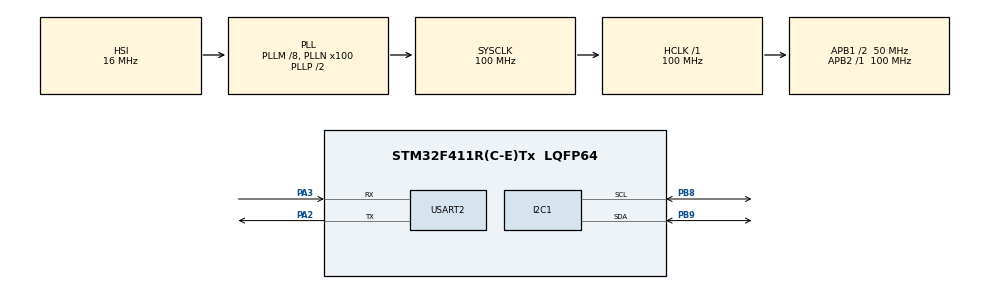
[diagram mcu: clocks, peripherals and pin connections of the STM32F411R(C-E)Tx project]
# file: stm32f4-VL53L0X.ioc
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Mcu.Family=STM32F4
Mcu.Name=STM32F411R(C-E)Tx
Mcu.Package=LQFP64
NVIC.PriorityGroup=NVIC_PRIORITYGROUP_0
PA2.GPIO_PuPd=GPIO_PULLDOWN
PA2.Mode=Asynchronous
PA2.Signal=USART2_TX
PA3.GPIO_PuPd=GPIO_PULLDOWN
PA3.Mode=Asynchronous
PA3.Signal=USART2_RX
PB8.GPIO_Pu=GPIO_PULLUP
PB8.Mode=I2C
PB8.Signal=I2C1_SCL
PB9.GPIO_Pu=GPIO_PULLUP
PB9.Mode=I2C
PB9.Signal=I2C1_SDA
ProjectManager.HeapSize=0x200
ProjectManager.StackSize=0x400
ProjectManager.TargetToolchain=STM32CubeIDE
RCC.48MHZClocksFreq_Value=50000000
RCC.AHBFreq_Value=100000000
RCC.APB1CLKDivider=RCC_HCLK_DIV2
RCC.APB1Freq_Value=50000000
RCC.APB1TimFreq_Value=100000000
RCC.APB2Freq_Value=100000000
RCC.APB2TimFreq_Value=100000000
RCC.CortexFreq_Value=100000000
RCC.FLatency-AdvancedSettings=FLASH_LATENCY_3
RCC.HCLKFreq_Value=100000000
RCC.HSE_VALUE=8000000
RCC.HSI_VALUE=16000000
RCC.LSE_VALUE=32768
RCC.PLLM=8
RCC.PLLN=100
RCC.SYSCLKFreq_VALUE=100000000
RCC.SYSCLKSource=RCC_SYSCLKSOURCE_PLLCLK
RCC.VCOOutputFreq_Value=200000000
USART2.VirtualMode=VM_ASYNC
board=NUCLEO-F411RE

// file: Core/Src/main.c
git/* USER CODE BEGIN Header */
/**
 ******************************************************************************
 * @file           : main.c
 * @brief          : Main program body
 ******************************************************************************
 * @attention
 *
 * <h2><center>&copy; Copyright (c) 2021 STMicroelectronics.
 * All rights reserved.</center></h2>
 *
 * This software component is licensed by ST under BSD 3-Clause license,
 * the "License"; You may not use this file except in compliance with the
 * License. You may obtain a copy of the License at:
 *                        opensource.org/licenses/BSD-3-Clause
 *
 ******************************************************************************
 */
/* USER CODE END Header */
#include "main.h"

/* USER CODE BEGIN Includes */
#include "VL53L0X.h"
#include "stdio.h"

/* USER CODE END Includes */

I2C_HandleTypeDef hi2c1;

UART_HandleTypeDef huart2;

void SystemClock_Config(void);
static void MX_GPIO_Init(void);
static void MX_USART2_UART_Init(void);
static void MX_I2C1_Init(void);

/* USER CODE BEGIN 0 */
int __io_putchar(int ch)

{

HAL_UART_Transmit(&huart2, (uint8_t *)&ch, 1, HAL_MAX_DELAY);

return ch;

}

int __io_getchar(void)

{

uint8_t ch = 0;

__HAL_UART_CLEAR_OREFLAG(&huart2);

HAL_UART_Receive(&huart2, (uint8_t *)&ch, 1, HAL_MAX_DELAY);

HAL_UART_Transmit(&huart2, (uint8_t *)&ch, 1, HAL_MAX_DELAY);

return ch;

}
/* USER CODE END 0 */

int main(void)
{

  /* MCU Configuration--------------------------------------------------------*/

  /* Reset of all peripherals, Initializes the Flash interface and the Systick. */
  HAL_Init();

  /* Configure the system clock */
  SystemClock_Config();

  /* Initialize all configured peripherals */
  MX_GPIO_Init();
  MX_USART2_UART_Init();
  MX_I2C1_Init();
  /* USER CODE BEGIN 2 */

	// Initialise a message buffer.
	char msgBuffer[52];
	for (uint8_t i = 0; i < 52; i++) {
		msgBuffer[i] = ' ';
	}

	// Initialise the VL53L0X
	statInfo_t_VL53L0X distanceStr;
	initVL53L0X(1, &hi2c1);

	// Configure the sensor for high accuracy and speed in 20 cm.
	setSignalRateLimit(200);
	setVcselPulsePeriod(VcselPeriodPreRange, 10);
	setVcselPulsePeriod(VcselPeriodFinalRange, 14);
	setMeasurementTimingBudget(300 * 1000UL);

	uint16_t distance;

  /* USER CODE END 2 */

  /* Infinite loop */
  /* USER CODE BEGIN WHILE */
	while (1) {

		// uint16_t distance is the distance in millimeters.
		// statInfo_t_VL53L0X distanceStr is the statistics read from the sensor.f
		//printf("cordialemnt connard");
		distance = readRangeSingleMillimeters(&distanceStr);

		printf( "Distance: %d\r\n", distance,"mm");

		HAL_UART_Transmit(&huart2, (uint8_t*) msgBuffer, sizeof(msgBuffer), 50);

    /* USER CODE END WHILE */

	}
}

void SystemClock_Config(void)
{
  RCC_OscInitTypeDef RCC_OscInitStruct = {0};
  RCC_ClkInitTypeDef RCC_ClkInitStruct = {0};

  /** Configure the main internal regulator output voltage
  */
  __HAL_RCC_PWR_CLK_ENABLE();
  __HAL_PWR_VOLTAGESCALING_CONFIG(PWR_REGULATOR_VOLTAGE_SCALE1);

  /** Initializes the RCC Oscillators according to the specified parameters
  * in the RCC_OscInitTypeDef structure.
  */
  RCC_OscInitStruct.OscillatorType = RCC_OSCILLATORTYPE_HSI;
  RCC_OscInitStruct.HSIState = RCC_HSI_ON;
  RCC_OscInitStruct.HSICalibrationValue = RCC_HSICALIBRATION_DEFAULT;
  RCC_OscInitStruct.PLL.PLLState = RCC_PLL_ON;
  RCC_OscInitStruct.PLL.PLLSource = RCC_PLLSOURCE_HSI;
  RCC_OscInitStruct.PLL.PLLM = 8;
  RCC_OscInitStruct.PLL.PLLN = 100;
  RCC_OscInitStruct.PLL.PLLP = RCC_PLLP_DIV2;
  RCC_OscInitStruct.PLL.PLLQ = 4;
  if (HAL_RCC_OscConfig(&RCC_OscInitStruct) != HAL_OK)
  {
    Error_Handler();
  }

  /** Initializes the CPU, AHB and APB buses clocks
  */
  RCC_ClkInitStruct.ClockType = RCC_CLOCKTYPE_HCLK|RCC_CLOCKTYPE_SYSCLK
                              |RCC_CLOCKTYPE_PCLK1|RCC_CLOCKTYPE_PCLK2;
  RCC_ClkInitStruct.SYSCLKSource = RCC_SYSCLKSOURCE_PLLCLK;
  RCC_ClkInitStruct.AHBCLKDivider = RCC_SYSCLK_DIV1;
  RCC_ClkInitStruct.APB1CLKDivider = RCC_HCLK_DIV2;
  RCC_ClkInitStruct.APB2CLKDivider = RCC_HCLK_DIV1;

  if (HAL_RCC_ClockConfig(&RCC_ClkInitStruct, FLASH_LATENCY_3) != HAL_OK)
  {
    Error_Handler();
  }
}

static void MX_I2C1_Init(void)
{

  hi2c1.Instance = I2C1;
  hi2c1.Init.ClockSpeed = 100000;
  hi2c1.Init.DutyCycle = I2C_DUTYCYCLE_2;
  hi2c1.Init.OwnAddress1 = 0;
  hi2c1.Init.AddressingMode = I2C_ADDRESSINGMODE_7BIT;
  hi2c1.Init.DualAddressMode = I2C_DUALADDRESS_DISABLE;
  hi2c1.Init.OwnAddress2 = 0;
  hi2c1.Init.GeneralCallMode = I2C_GENERALCALL_DISABLE;
  hi2c1.Init.NoStretchMode = I2C_NOSTRETCH_DISABLE;
  if (HAL_I2C_Init(&hi2c1) != HAL_OK)
  {
    Error_Handler();
  }

}

static void MX_USART2_UART_Init(void)
{

  huart2.Instance = USART2;
  huart2.Init.BaudRate = 115200;
  huart2.Init.WordLength = UART_WORDLENGTH_8B;
  huart2.Init.StopBits = UART_STOPBITS_1;
  huart2.Init.Parity = UART_PARITY_NONE;
  huart2.Init.Mode = UART_MODE_TX_RX;
  huart2.Init.HwFlowCtl = UART_HWCONTROL_NONE;
  huart2.Init.OverSampling = UART_OVERSAMPLING_16;
  if (HAL_UART_Init(&huart2) != HAL_OK)
  {
    Error_Handler();
  }

}

static void MX_GPIO_Init(void)
{

  /* GPIO Ports Clock Enable */
  __HAL_RCC_GPIOA_CLK_ENABLE();
  __HAL_RCC_GPIOB_CLK_ENABLE();

}

void Error_Handler(void)
{
	__disable_irq();
	while (1) {
	}
}
